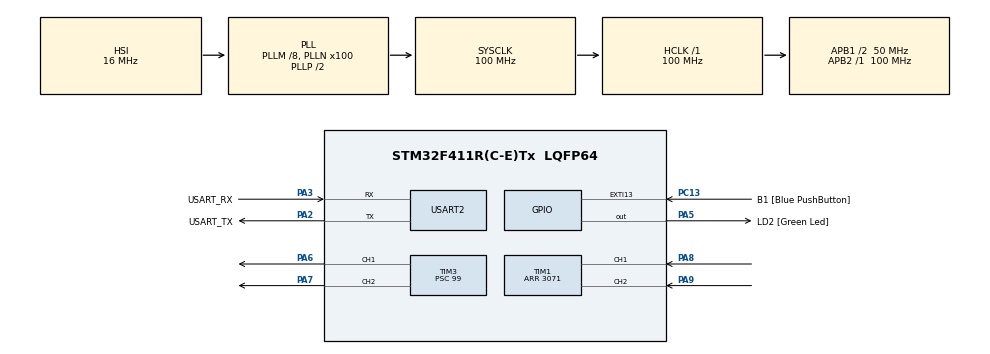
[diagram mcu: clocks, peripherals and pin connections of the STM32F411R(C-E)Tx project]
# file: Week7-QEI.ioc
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ARM.CMSIS.5.6.0.CMSISJjCORE=true
ARM.CMSIS.5.6.0.CMSISJjDSP=Library
Mcu.Family=STM32F4
Mcu.Name=STM32F411R(C-E)Tx
Mcu.Package=LQFP64
NVIC.PriorityGroup=NVIC_PRIORITYGROUP_0
NVIC.TIM2_IRQn=true\:0\:0\:false\:false\:true\:true\:true
PA13.GPIO_Label=TMS
PA13.Mode=Serial_Wire
PA13.Signal=SYS_JTMS-SWDIO
PA14.GPIO_Label=TCK
PA14.Mode=Serial_Wire
PA14.Signal=SYS_JTCK-SWCLK
PA2.GPIO_Label=USART_TX
PA2.Mode=Asynchronous
PA2.Signal=USART2_TX
PA3.GPIO_Label=USART_RX
PA3.Mode=Asynchronous
PA3.Signal=USART2_RX
PA5.GPIO_Label=LD2 [Green Led]
PA5.Signal=GPIO_Output
PA6.Signal=S_TIM3_CH1
PA7.Signal=S_TIM3_CH2
PA8.Signal=S_TIM1_CH1
PA9.Signal=S_TIM1_CH2
PB3.GPIO_Label=SWO
PB3.Signal=SYS_JTDO-SWO
PC13-ANTI_TAMP.GPIO_Label=B1 [Blue PushButton]
PC13-ANTI_TAMP.GPIO_ModeDefaultEXTI=GPIO_MODE_IT_FALLING
PC13-ANTI_TAMP.Signal=GPXTI13
PC14-OSC32_IN.Mode=LSE-External-Oscillator
PC14-OSC32_IN.Signal=RCC_OSC32_IN
PC15-OSC32_OUT.Mode=LSE-External-Oscillator
PC15-OSC32_OUT.Signal=RCC_OSC32_OUT
PH0\ -\ OSC_IN.Mode=HSE-External-Clock-Source
PH0\ -\ OSC_IN.Signal=RCC_OSC_IN
PH1\ -\ OSC_OUT.Mode=HSE-External-Clock-Source
PH1\ -\ OSC_OUT.Signal=RCC_OSC_OUT
ProjectManager.HeapSize=0x200
ProjectManager.StackSize=0x400
ProjectManager.TargetToolchain=STM32CubeIDE
RCC.48MHZClocksFreq_Value=50000000
RCC.AHBFreq_Value=100000000
RCC.APB1CLKDivider=RCC_HCLK_DIV2
RCC.APB1Freq_Value=50000000
RCC.APB1TimFreq_Value=100000000
RCC.APB2Freq_Value=100000000
RCC.APB2TimFreq_Value=100000000
RCC.CortexFreq_Value=100000000
RCC.FLatency-AdvancedSettings=FLASH_LATENCY_3
RCC.HCLKFreq_Value=100000000
RCC.HSE_VALUE=8000000
RCC.HSI_VALUE=16000000
RCC.PLLM=8
RCC.PLLN=100
RCC.SYSCLKFreq_VALUE=100000000
RCC.SYSCLKSource=RCC_SYSCLKSOURCE_PLLCLK
RCC.VCOOutputFreq_Value=200000000
SH.S_TIM1_CH1.0=TIM1_CH1,Encoder_Interface
SH.S_TIM1_CH2.0=TIM1_CH2,Encoder_Interface
SH.S_TIM3_CH1.0=TIM3_CH1,PWM Generation1 CH1
SH.S_TIM3_CH2.0=TIM3_CH2,PWM Generation2 CH2
TIM1.EncoderMode=TIM_ENCODERMODE_TI12
TIM1.IC1Filter=2
TIM1.IC2Filter=2
TIM1.Period=3071
TIM2.Prescaler=99
TIM3.Channel-PWM\ Generation1\ CH1=TIM_CHANNEL_1
TIM3.Channel-PWM\ Generation2\ CH2=TIM_CHANNEL_2
TIM3.OCMode_PWM-PWM\ Generation2\ CH2=TIM_OCMODE_PWM1
TIM3.Period=10000
TIM3.Prescaler=99
USART2.VirtualMode=VM_ASYNC
VP_ARM.CMSIS_VS_CMSISJjCORE_5.3.0_5.6.0.Mode=CMSISJjCORE
VP_ARM.CMSIS_VS_CMSISJjDSP_1.7.0_5.6.0.Mode=CMSISJjDSP
VP_TIM2_VS_ClockSourceINT.Mode=Internal
VP_TIM3_VS_ClockSourceINT.Mode=Internal
board=NUCLEO-F411RE

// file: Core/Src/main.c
/* USER CODE BEGIN Header */
/**
 ******************************************************************************
 * @file           : main.c
 * @brief          : Main program body
 ******************************************************************************
 * @attention
 *
 * <h2><center>&copy; Copyright (c) 2021 STMicroelectronics.
 * All rights reserved.</center></h2>
 *
 * This software component is licensed by ST under BSD 3-Clause license,
 * the "License"; You may not use this file except in compliance with the
 * License. You may obtain a copy of the License at:
 *                        opensource.org/licenses/BSD-3-Clause
 *
 ******************************************************************************
 */
/* USER CODE END Header */
#include "main.h"

TIM_HandleTypeDef htim1;
TIM_HandleTypeDef htim2;
TIM_HandleTypeDef htim3;

UART_HandleTypeDef huart2;

/* USER CODE BEGIN PV */
uint64_t _micros = 0;
float EncoderVel = 0;
float MotorRPM = 0;
uint64_t Timestamp_Encoder = 0;
float PWMOut = 3000;
int InputRPM = 0;
/* USER CODE END PV */

void SystemClock_Config(void);
static void MX_GPIO_Init(void);
static void MX_USART2_UART_Init(void);
static void MX_TIM1_Init(void);
static void MX_TIM2_Init(void);
static void MX_TIM3_Init(void);
/* USER CODE BEGIN PFP */
uint64_t micros();
float EncoderVelocity_Update();
void RunMotor();
void PWMControl(float);

/* USER CODE END PFP */

int main(void)
{

  /* MCU Configuration--------------------------------------------------------*/

  /* Reset of all peripherals, Initializes the Flash interface and the Systick. */
  HAL_Init();

  /* Configure the system clock */
  SystemClock_Config();

  /* Initialize all configured peripherals */
  MX_GPIO_Init();
  MX_USART2_UART_Init();
  MX_TIM1_Init();
  MX_TIM2_Init();
  MX_TIM3_Init();
  /* USER CODE BEGIN 2 */
	HAL_TIM_Base_Start_IT(&htim2);
	HAL_TIM_Encoder_Start(&htim1, TIM_CHANNEL_ALL);

	HAL_TIM_Base_Start(&htim3);
	HAL_TIM_PWM_Start(&htim3, TIM_CHANNEL_1);
	HAL_TIM_PWM_Start(&htim3, TIM_CHANNEL_2);
  /* USER CODE END 2 */

  /* Infinite loop */
	while (1)
	{

    /* USER CODE BEGIN 3 */

		//RAW Read
//		if (micros() - Timestamp_Encoder >= 1000)
//		{
//			Timestamp_Encoder = micros();
//			EncoderVel = EncoderVelocity_Update();
//		}

		//Add LPF?
		if (micros() - Timestamp_Encoder >= 1000) //10kHz
		{
//			HAL_GPIO_WritePin(GPIOA, GPIO_PIN_7, 1);
			Timestamp_Encoder = micros();
			EncoderVel = (EncoderVel * 99 + EncoderVelocity_Update()) / 100.0;
			MotorRPM = (MotorRPM * 99 + (EncoderVel*60/3072)) / 100.0;
			RunMotor();
		}

	}
  /* USER CODE END 3 */
}

void SystemClock_Config(void)
{
  RCC_OscInitTypeDef RCC_OscInitStruct = {0};
  RCC_ClkInitTypeDef RCC_ClkInitStruct = {0};

  /** Configure the main internal regulator output voltage
  */
  __HAL_RCC_PWR_CLK_ENABLE();
  __HAL_PWR_VOLTAGESCALING_CONFIG(PWR_REGULATOR_VOLTAGE_SCALE1);
  /** Initializes the RCC Oscillators according to the specified parameters
  * in the RCC_OscInitTypeDef structure.
  */
  RCC_OscInitStruct.OscillatorType = RCC_OSCILLATORTYPE_HSI;
  RCC_OscInitStruct.HSIState = RCC_HSI_ON;
  RCC_OscInitStruct.HSICalibrationValue = RCC_HSICALIBRATION_DEFAULT;
  RCC_OscInitStruct.PLL.PLLState = RCC_PLL_ON;
  RCC_OscInitStruct.PLL.PLLSource = RCC_PLLSOURCE_HSI;
  RCC_OscInitStruct.PLL.PLLM = 8;
  RCC_OscInitStruct.PLL.PLLN = 100;
  RCC_OscInitStruct.PLL.PLLP = RCC_PLLP_DIV2;
  RCC_OscInitStruct.PLL.PLLQ = 4;
  if (HAL_RCC_OscConfig(&RCC_OscInitStruct) != HAL_OK)
  {
    Error_Handler();
  }
  /** Initializes the CPU, AHB and APB buses clocks
  */
  RCC_ClkInitStruct.ClockType = RCC_CLOCKTYPE_HCLK|RCC_CLOCKTYPE_SYSCLK
                              |RCC_CLOCKTYPE_PCLK1|RCC_CLOCKTYPE_PCLK2;
  RCC_ClkInitStruct.SYSCLKSource = RCC_SYSCLKSOURCE_PLLCLK;
  RCC_ClkInitStruct.AHBCLKDivider = RCC_SYSCLK_DIV1;
  RCC_ClkInitStruct.APB1CLKDivider = RCC_HCLK_DIV2;
  RCC_ClkInitStruct.APB2CLKDivider = RCC_HCLK_DIV1;

  if (HAL_RCC_ClockConfig(&RCC_ClkInitStruct, FLASH_LATENCY_3) != HAL_OK)
  {
    Error_Handler();
  }
}

static void MX_TIM1_Init(void)
{

  TIM_Encoder_InitTypeDef sConfig = {0};
  TIM_MasterConfigTypeDef sMasterConfig = {0};

  htim1.Instance = TIM1;
  htim1.Init.Prescaler = 0;
  htim1.Init.CounterMode = TIM_COUNTERMODE_UP;
  htim1.Init.Period = 3071;
  htim1.Init.ClockDivision = TIM_CLOCKDIVISION_DIV1;
  htim1.Init.RepetitionCounter = 0;
  htim1.Init.AutoReloadPreload = TIM_AUTORELOAD_PRELOAD_DISABLE;
  sConfig.EncoderMode = TIM_ENCODERMODE_TI12;
  sConfig.IC1Polarity = TIM_ICPOLARITY_RISING;
  sConfig.IC1Selection = TIM_ICSELECTION_DIRECTTI;
  sConfig.IC1Prescaler = TIM_ICPSC_DIV1;
  sConfig.IC1Filter = 2;
  sConfig.IC2Polarity = TIM_ICPOLARITY_RISING;
  sConfig.IC2Selection = TIM_ICSELECTION_DIRECTTI;
  sConfig.IC2Prescaler = TIM_ICPSC_DIV1;
  sConfig.IC2Filter = 2;
  if (HAL_TIM_Encoder_Init(&htim1, &sConfig) != HAL_OK)
  {
    Error_Handler();
  }
  sMasterConfig.MasterOutputTrigger = TIM_TRGO_RESET;
  sMasterConfig.MasterSlaveMode = TIM_MASTERSLAVEMODE_DISABLE;
  if (HAL_TIMEx_MasterConfigSynchronization(&htim1, &sMasterConfig) != HAL_OK)
  {
    Error_Handler();
  }

}

static void MX_TIM2_Init(void)
{

  TIM_ClockConfigTypeDef sClockSourceConfig = {0};
  TIM_MasterConfigTypeDef sMasterConfig = {0};

  htim2.Instance = TIM2;
  htim2.Init.Prescaler = 99;
  htim2.Init.CounterMode = TIM_COUNTERMODE_UP;
  htim2.Init.Period = 4294967295;
  htim2.Init.ClockDivision = TIM_CLOCKDIVISION_DIV1;
  htim2.Init.AutoReloadPreload = TIM_AUTORELOAD_PRELOAD_DISABLE;
  if (HAL_TIM_Base_Init(&htim2) != HAL_OK)
  {
    Error_Handler();
  }
  sClockSourceConfig.ClockSource = TIM_CLOCKSOURCE_INTERNAL;
  if (HAL_TIM_ConfigClockSource(&htim2, &sClockSourceConfig) != HAL_OK)
  {
    Error_Handler();
  }
  sMasterConfig.MasterOutputTrigger = TIM_TRGO_RESET;
  sMasterConfig.MasterSlaveMode = TIM_MASTERSLAVEMODE_DISABLE;
  if (HAL_TIMEx_MasterConfigSynchronization(&htim2, &sMasterConfig) != HAL_OK)
  {
    Error_Handler();
  }

}

static void MX_TIM3_Init(void)
{

  TIM_ClockConfigTypeDef sClockSourceConfig = {0};
  TIM_MasterConfigTypeDef sMasterConfig = {0};
  TIM_OC_InitTypeDef sConfigOC = {0};

  htim3.Instance = TIM3;
  htim3.Init.Prescaler = 99;
  htim3.Init.CounterMode = TIM_COUNTERMODE_UP;
  htim3.Init.Period = 10000;
  htim3.Init.ClockDivision = TIM_CLOCKDIVISION_DIV1;
  htim3.Init.AutoReloadPreload = TIM_AUTORELOAD_PRELOAD_DISABLE;
  if (HAL_TIM_Base_Init(&htim3) != HAL_OK)
  {
    Error_Handler();
  }
  sClockSourceConfig.ClockSource = TIM_CLOCKSOURCE_INTERNAL;
  if (HAL_TIM_ConfigClockSource(&htim3, &sClockSourceConfig) != HAL_OK)
  {
    Error_Handler();
  }
  if (HAL_TIM_PWM_Init(&htim3) != HAL_OK)
  {
    Error_Handler();
  }
  sMasterConfig.MasterOutputTrigger = TIM_TRGO_RESET;
  sMasterConfig.MasterSlaveMode = TIM_MASTERSLAVEMODE_DISABLE;
  if (HAL_TIMEx_MasterConfigSynchronization(&htim3, &sMasterConfig) != HAL_OK)
  {
    Error_Handler();
  }
  sConfigOC.OCMode = TIM_OCMODE_PWM1;
  sConfigOC.Pulse = 0;
  sConfigOC.OCPolarity = TIM_OCPOLARITY_HIGH;
  sConfigOC.OCFastMode = TIM_OCFAST_DISABLE;
  if (HAL_TIM_PWM_ConfigChannel(&htim3, &sConfigOC, TIM_CHANNEL_1) != HAL_OK)
  {
    Error_Handler();
  }
  if (HAL_TIM_PWM_ConfigChannel(&htim3, &sConfigOC, TIM_CHANNEL_2) != HAL_OK)
  {
    Error_Handler();
  }
  HAL_TIM_MspPostInit(&htim3);

}

static void MX_USART2_UART_Init(void)
{

  huart2.Instance = USART2;
  huart2.Init.BaudRate = 115200;
  huart2.Init.WordLength = UART_WORDLENGTH_8B;
  huart2.Init.StopBits = UART_STOPBITS_1;
  huart2.Init.Parity = UART_PARITY_NONE;
  huart2.Init.Mode = UART_MODE_TX_RX;
  huart2.Init.HwFlowCtl = UART_HWCONTROL_NONE;
  huart2.Init.OverSampling = UART_OVERSAMPLING_16;
  if (HAL_UART_Init(&huart2) != HAL_OK)
  {
    Error_Handler();
  }

}

static void MX_GPIO_Init(void)
{
  GPIO_InitTypeDef GPIO_InitStruct = {0};

  /* GPIO Ports Clock Enable */
  __HAL_RCC_GPIOC_CLK_ENABLE();
  __HAL_RCC_GPIOH_CLK_ENABLE();
  __HAL_RCC_GPIOA_CLK_ENABLE();
  __HAL_RCC_GPIOB_CLK_ENABLE();

  /*Configure GPIO pin Output Level */
  HAL_GPIO_WritePin(LD2_GPIO_Port, LD2_Pin, GPIO_PIN_RESET);

  /*Configure GPIO pin : B1_Pin */
  GPIO_InitStruct.Pin = B1_Pin;
  GPIO_InitStruct.Mode = GPIO_MODE_IT_FALLING;
  GPIO_InitStruct.Pull = GPIO_NOPULL;
  HAL_GPIO_Init(B1_GPIO_Port, &GPIO_InitStruct);

  /*Configure GPIO pin : LD2_Pin */
  GPIO_InitStruct.Pin = LD2_Pin;
  GPIO_InitStruct.Mode = GPIO_MODE_OUTPUT_PP;
  GPIO_InitStruct.Pull = GPIO_NOPULL;
  GPIO_InitStruct.Speed = GPIO_SPEED_FREQ_LOW;
  HAL_GPIO_Init(LD2_GPIO_Port, &GPIO_InitStruct);

}

/* USER CODE BEGIN 4 */
#define  HTIM_ENCODER htim1
#define  MAX_SUBPOSITION_OVERFLOW 1536
#define  MAX_ENCODER_PERIOD 3072
uint32_t EncoderNowPosition;

float K_P = 0;
float K_I = 0;
float K_D = 0;

float EncoderVelocity_Update()
{
	//Save Last state
	static uint32_t EncoderLastPosition = 0;
	static uint64_t EncoderLastTimestamp = 0;

	//read data
	EncoderNowPosition = HTIM_ENCODER.Instance->CNT;
	uint64_t EncoderNowTimestamp = micros();

	int32_t EncoderPositionDiff;
	uint64_t EncoderTimeDiff;

	EncoderTimeDiff = EncoderNowTimestamp - EncoderLastTimestamp;
	EncoderPositionDiff = EncoderNowPosition - EncoderLastPosition;

	//compensate overflow and underflow
	if (EncoderPositionDiff >= MAX_SUBPOSITION_OVERFLOW)
	{
		EncoderPositionDiff -= MAX_ENCODER_PERIOD;
	}
	else if (-EncoderPositionDiff >= MAX_SUBPOSITION_OVERFLOW)
	{
		EncoderPositionDiff += MAX_ENCODER_PERIOD;
	}

	//Update Position and time
	EncoderLastPosition = EncoderNowPosition;
	EncoderLastTimestamp = EncoderNowTimestamp;

	//Calculate velocity
	//EncoderTimeDiff is in uS
	return (EncoderPositionDiff * 1000000) / (float) EncoderTimeDiff;

}

void RunMotor()
{
	PWMControl(MotorRPM);
	if(PWMOut > 0)
	{
		if(PWMOut > 10000)
		{
			PWMOut = 10000;
		}
		__HAL_TIM_SET_COMPARE(&htim3, TIM_CHANNEL_1, PWMOut);
		__HAL_TIM_SET_COMPARE(&htim3, TIM_CHANNEL_2, 0);
	}
	else if(PWMOut < 0)
	{
		if(PWMOut < -10000)
		{
			PWMOut = -10000;
		}
		__HAL_TIM_SET_COMPARE(&htim3, TIM_CHANNEL_1, 0);
		__HAL_TIM_SET_COMPARE(&htim3, TIM_CHANNEL_2, -1*PWMOut);
	}
	else
	{
		__HAL_TIM_SET_COMPARE(&htim3, TIM_CHANNEL_1, 0);
		__HAL_TIM_SET_COMPARE(&htim3, TIM_CHANNEL_2, 0);
	}
}

void PWMControl(float MotorRPM)
{
	static float Error_Value,Sum_Error,Prev_Error;

	Error_Value = InputRPM - MotorRPM;

	Sum_Error += Error_Value;
	PWMOut = K_P*Error_Value + K_I*Sum_Error + K_D*(Error_Value-Prev_Error);
	Prev_Error = Error_Value;
}

void HAL_TIM_PeriodElapsedCallback(TIM_HandleTypeDef *htim)
{
	if (htim == &htim2)
	{
		_micros += 4294967295;
	}
}
uint64_t micros()
{
	return _micros + htim2.Instance->CNT;
}
/* USER CODE END 4 */

void Error_Handler(void)
{
	__disable_irq();
	while (1)
	{
	}
}

/************************ (C) COPYRIGHT STMicroelectronics *****END OF FILE****/
